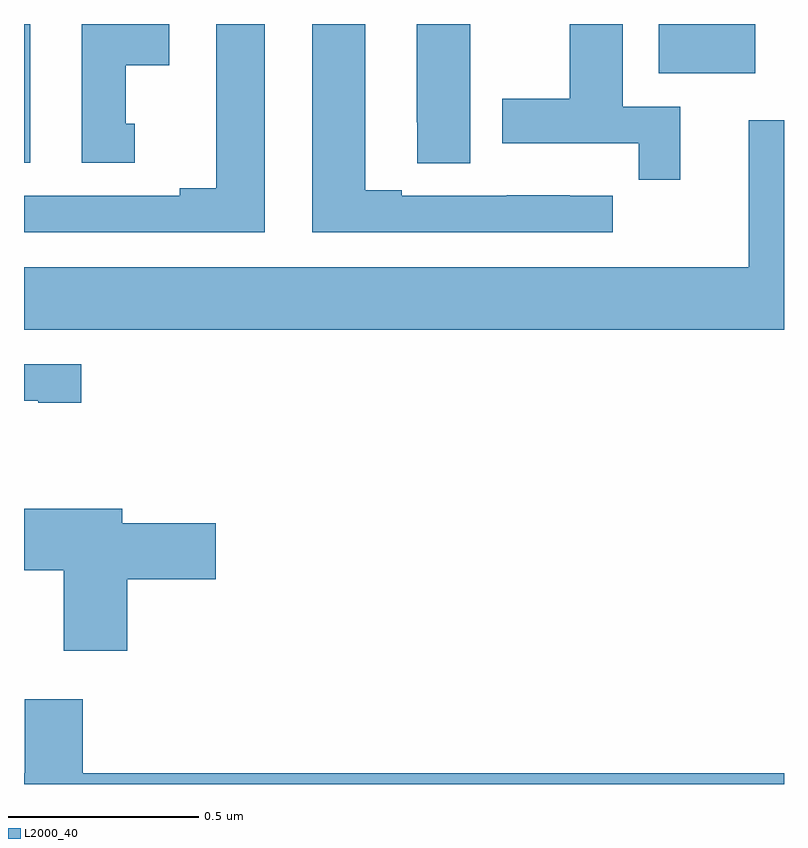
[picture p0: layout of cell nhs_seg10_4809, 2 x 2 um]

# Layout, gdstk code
import gdstk
lib = gdstk.Library(unit=1e-6, precision=1e-09)
def R(c, l, rs):  # rectangles x0, y0, x1, y1
    for r in rs: c.add(gdstk.rectangle(r[:2], r[2:], *l))
def P(c, l, *ps):  # polygons
    for p in ps: c.add(gdstk.Polygon(p, *l))
L2000_40 = (2000, 40)

nhs_seg10_4809 = lib.new_cell('nhs_seg10_4809')
R(nhs_seg10_4809, L2000_40, [(171,1254.135,171.016,1254.5), (172.67,1254.371,172.924,1254.5)])
P(nhs_seg10_4809, L2000_40, [(172.549,1254.048),(172.436,1254.048),(172.436,1254.049),(172.27,1254.049),(172.27,1254.048),(171.994,1254.048),(171.994,1254.063),(171.898,1254.063),(171.898,1254.5),(171.758,1254.5),(171.758,1253.952),(172.549,1253.952)],
  [(172.174,1254.5),(172.034,1254.5),(172.034,1254.241),(172.035,1254.241),(172.035,1254.133),(172.174,1254.133)],
  [(172.727,1254.282),(172.576,1254.282),(172.576,1254.5),(172.436,1254.5),(172.436,1254.303),(172.259,1254.303),(172.259,1254.186),(172.618,1254.186),(172.618,1254.09),(172.727,1254.09)],
  [(171.292,1254.237),(171.268,1254.237),(171.268,1254.392),(171.382,1254.392),(171.382,1254.5),(171.152,1254.5),(171.152,1254.135),(171.292,1254.135)],
  [(171.634,1254.5),(171.506,1254.5),(171.506,1254.068),(171.41,1254.068),(171.41,1254.048),(171,1254.048),(171,1253.952),(171.634,1253.952)],
  [(173,1254.247),(172.907,1254.247),(172.907,1253.86),(171,1253.86),(171,1253.696),(173,1253.696)],
  [(171.151,1253.604),(171,1253.604),(171,1253.508),(171.038,1253.508),(171.038,1253.503),(171.151,1253.503)],
  [(171.272,1253.039),(171.505,1253.039),(171.505,1253.186),(171.259,1253.186),(171.259,1253.224),(171,1253.224),(171,1253.062),(171.104,1253.062),(171.104,1252.851),(171.272,1252.851)],
  [(173,1252.528),(171.155,1252.528),(171.155,1252.723),(171.002,1252.723),(171.002,1252.528),(171,1252.528),(171,1252.5),(173,1252.5)])

lib.write_gds('nhs_seg10_4809.gds')
